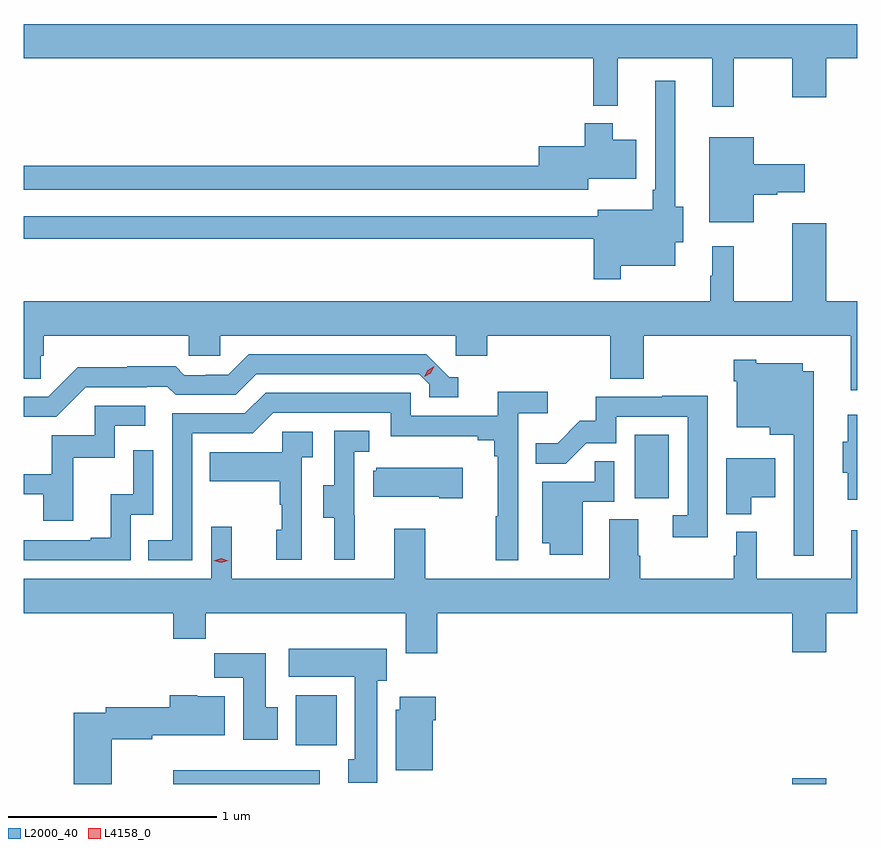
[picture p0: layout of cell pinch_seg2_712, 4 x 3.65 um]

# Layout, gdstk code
import gdstk
lib = gdstk.Library(unit=1e-6, precision=1e-09)
def R(c, l, rs):  # rectangles x0, y0, x1, y1
    for r in rs: c.add(gdstk.rectangle(r[:2], r[2:], *l))
def P(c, l, *ps):  # polygons
    for p in ps: c.add(gdstk.Polygon(p, *l))
L2000_40 = (2000, 40)
L4158_0 = (4158, 0)

pinch_seg2_712 = lib.new_cell('pinch_seg2_712')
R(pinch_seg2_712, L2000_40, [(1121.075,586.875,1121.779,586.942), (1124.048,586.875,1124.212,586.903), (1121.663,587.06,1121.86,587.302), (1123.292,588.246,1123.456,588.553)])
P(pinch_seg2_712, L2000_40, [(1123.766,590.36),(1124.048,590.36),(1124.048,590.172),(1124.212,590.172),(1124.212,590.36),(1124.359,590.36),(1124.359,590.524),(1120.359,590.524),(1120.359,590.36),(1123.093,590.36),(1123.093,590.132),(1123.211,590.132),(1123.211,590.36),(1123.664,590.36),(1123.664,590.127),(1123.766,590.127)],
  [(1123.225,589.364),(1123.486,589.364),(1123.486,589.475),(1123.525,589.475),(1123.525,589.646),(1123.486,589.646),(1123.486,590.251),(1123.389,590.251),(1123.389,589.729),(1123.377,589.729),(1123.377,589.633),(1123.115,589.633),(1123.115,589.602),(1120.359,589.602),(1120.359,589.494),(1123.096,589.494),(1123.096,589.299),(1123.225,589.299)],
  [(1123.069,589.781),(1123.3,589.781),(1123.3,589.969),(1123.186,589.969),(1123.186,590.047),(1123.052,590.047),(1123.052,589.936),(1122.83,589.936),(1122.83,589.844),(1120.359,589.844),(1120.359,589.728),(1123.069,589.728)],
  [(1123.864,589.703),(1123.977,589.703),(1123.977,589.715),(1124.107,589.715),(1124.107,589.85),(1123.864,589.85),(1123.864,589.981),(1123.649,589.981),(1123.649,589.571),(1123.864,589.571)],
  [(1124.359,589.192),(1124.212,589.192),(1124.212,589.567),(1124.048,589.567),(1124.048,589.192),(1123.766,589.192),(1123.766,589.456),(1123.664,589.456),(1123.664,589.316),(1123.653,589.316),(1123.653,589.192),(1120.359,589.192),(1120.359,588.82),(1120.439,588.82),(1120.439,588.93),(1120.454,588.93),(1120.454,589.028),(1121.151,589.028),(1121.151,588.93),(1121.301,588.93),(1121.301,589.028),(1122.432,589.028),(1122.432,588.93),(1122.584,588.93),(1122.584,589.028),(1123.175,589.028),(1123.175,588.82),(1123.335,588.82),(1123.335,589.028),(1124.329,589.028),(1124.329,588.765),(1124.359,588.765)],
  [(1120.656,588.78),(1120.949,588.78),(1120.949,588.783),(1121.048,588.783),(1121.087,588.744),(1121.376,588.744),(1121.475,588.843),(1122.258,588.843),(1122.306,588.795),(1122.306,588.732),(1122.445,588.732),(1122.445,588.828),(1122.402,588.828),(1122.291,588.939),(1121.438,588.939),(1121.339,588.84),(1121.232,588.84),(1121.232,588.837),(1121.129,588.837),(1121.087,588.88),(1120.854,588.88),(1120.854,588.877),(1120.618,588.877),(1120.476,588.735),(1120.359,588.735),(1120.359,588.639),(1120.515,588.639)],
  [(1124.152,588.856),(1124.098,588.856),(1124.098,588.895),(1123.875,588.895),(1123.875,588.913),(1123.767,588.913),(1123.767,588.809),(1123.781,588.809),(1123.781,588.587),(1123.94,588.587),(1123.94,588.551),(1124.055,588.551),(1124.055,587.97),(1124.152,587.97)],
  [(1121.166,588.558),(1121.457,588.558),(1121.556,588.657),(1122.12,588.657),(1122.12,588.545),(1122.539,588.545),(1122.539,588.526),(1122.616,588.526),(1122.616,588.449),(1122.635,588.449),(1122.635,588.161),(1122.624,588.161),(1122.624,587.949),(1122.732,587.949),(1122.732,588.656),(1122.874,588.656),(1122.874,588.758),(1122.635,588.758),(1122.635,588.642),(1122.216,588.642),(1122.216,588.753),(1121.519,588.753),(1121.42,588.654),(1121.07,588.654),(1121.07,588.045),(1120.957,588.045),(1120.957,587.949),(1121.166,587.949)],
  [(1123.641,588.74),(1123.423,588.74),(1123.423,588.735),(1123.105,588.735),(1123.105,588.618),(1123.028,588.618),(1122.921,588.511),(1122.817,588.511),(1122.817,588.413),(1122.961,588.413),(1123.058,588.51),(1123.203,588.51),(1123.203,588.639),(1123.545,588.639),(1123.545,588.165),(1123.473,588.165),(1123.473,588.06),(1123.641,588.06)],
  [(1120.595,588.441),(1120.794,588.441),(1120.794,588.594),(1120.942,588.594),(1120.942,588.69),(1120.698,588.69),(1120.698,588.549),(1120.493,588.549),(1120.493,588.363),(1120.359,588.363),(1120.359,588.267),(1120.451,588.267),(1120.451,588.138),(1120.595,588.138)],
  [(1124.359,588.649),(1124.315,588.649),(1124.315,588.519),(1124.291,588.519),(1124.291,588.369),(1124.315,588.369),(1124.315,588.239),(1124.359,588.239)],
  [(1121.948,588.165),(1121.946,588.165),(1121.946,588.471),(1122.016,588.471),(1122.016,588.572),(1121.85,588.572),(1121.85,588.309),(1121.795,588.309),(1121.795,588.154),(1121.849,588.154),(1121.849,587.952),(1121.948,587.952)],
  [(1121.694,588.443),(1121.746,588.443),(1121.746,588.567),(1121.598,588.567),(1121.598,588.469),(1121.251,588.469),(1121.251,588.329),(1121.586,588.329),(1121.586,588.215),(1121.596,588.215),(1121.596,588.096),(1121.57,588.096),(1121.57,587.952),(1121.694,587.952)],
  [(1120.872,588.168),(1120.98,588.168),(1120.98,588.478),(1120.884,588.478),(1120.884,588.266),(1120.775,588.266),(1120.775,588.058),(1120.679,588.058),(1120.679,588.045),(1120.359,588.045),(1120.359,587.949),(1120.872,587.949)],
  [(1123.852,588.251),(1123.966,588.251),(1123.966,588.439),(1123.73,588.439),(1123.73,588.17),(1123.852,588.17)],
  [(1123.042,588.231),(1123.194,588.231),(1123.194,588.425),(1123.099,588.425),(1123.099,588.327),(1122.848,588.327),(1122.848,588.032),(1122.884,588.032),(1122.884,587.976),(1123.042,587.976)],
  [(1122.466,588.394),(1122.151,588.394),(1122.151,588.393),(1122.051,588.393),(1122.051,588.378),(1122.035,588.378),(1122.035,588.254),(1122.353,588.254),(1122.353,588.247),(1122.466,588.247)],
  [(1121.259,588.109),(1121.259,587.86),(1120.359,587.86),(1120.359,587.696),(1121.075,587.696),(1121.075,587.572),(1121.231,587.572),(1121.231,587.696),(1122.191,587.696),(1122.191,587.502),(1122.344,587.502),(1122.344,587.696),(1124.048,587.696),(1124.048,587.508),(1124.212,587.508),(1124.212,587.696),(1124.359,587.696),(1124.359,588.094),(1124.33,588.094),(1124.33,587.86),(1123.877,587.86),(1123.877,588.085),(1123.778,588.085),(1123.778,587.972),(1123.767,587.972),(1123.767,587.86),(1123.317,587.86),(1123.317,587.972),(1123.309,587.972),(1123.309,588.146),(1123.169,588.146),(1123.169,587.86),(1122.285,587.86),(1122.285,588.1),(1122.137,588.1),(1122.137,587.86),(1121.357,587.86),(1121.357,588.109)],
  [(1122.055,587.37),(1122.1,587.37),(1122.1,587.524),(1121.631,587.524),(1121.631,587.39),(1121.948,587.39),(1121.948,586.994),(1121.915,586.994),(1121.915,586.881),(1122.055,586.881)],
  [(1121.578,587.244),(1121.521,587.244),(1121.521,587.503),(1121.272,587.503),(1121.272,587.384),(1121.411,587.384),(1121.411,587.088),(1121.578,587.088)],
  [(1120.781,587.089),(1120.976,587.089),(1120.976,587.108),(1121.323,587.108),(1121.323,587.296),(1121.19,587.296),(1121.19,587.302),(1121.06,587.302),(1121.06,587.244),(1120.751,587.244),(1120.751,587.218),(1120.598,587.218),(1120.598,586.875),(1120.781,586.875)],
  [(1122.322,587.18),(1122.335,587.18),(1122.335,587.293),(1122.164,587.293),(1122.164,587.232),(1122.143,587.232),(1122.143,586.94),(1122.322,586.94)])
P(pinch_seg2_712, L4158_0, [(1121.306,587.938),(1121.27,587.947),(1121.27,587.948),(1121.27,587.948),(1121.306,587.958),(1121.341,587.948),(1121.341,587.948),(1121.341,587.947)],
  [(1122.281,588.83),(1122.281,588.83),(1122.298,588.862),(1122.329,588.881),(1122.33,588.881),(1122.33,588.88),(1122.313,588.848),(1122.281,588.83)])

lib.write_gds('pinch_seg2_712.gds')
